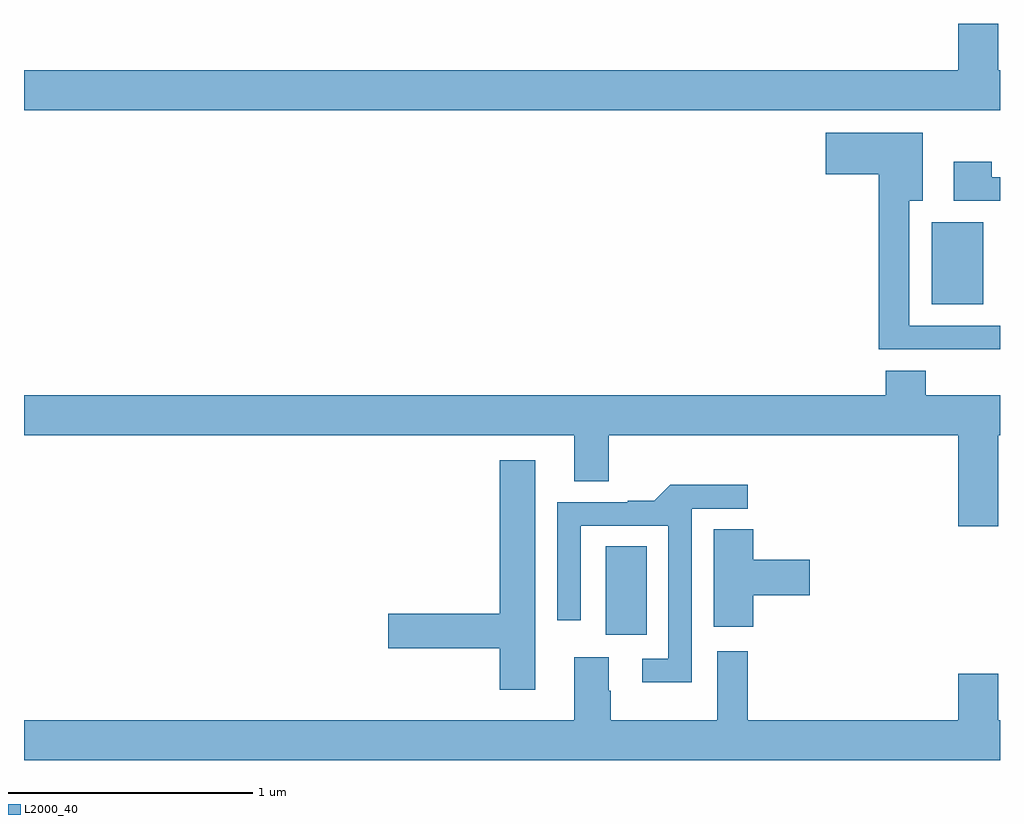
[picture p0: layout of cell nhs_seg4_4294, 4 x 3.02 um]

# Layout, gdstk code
import gdstk
lib = gdstk.Library(unit=1e-6, precision=1e-09)
def R(c, l, rs):  # rectangles x0, y0, x1, y1
    for r in rs: c.add(gdstk.rectangle(r[:2], r[2:], *l))
def P(c, l, *ps):  # polygons
    for p in ps: c.add(gdstk.Polygon(p, *l))
L2000_40 = (2000, 40)

nhs_seg4_4294 = lib.new_cell('nhs_seg4_4294')
R(nhs_seg4_4294, L2000_40, [(343.385,772.026,343.552,772.388), (344.72,773.381,344.932,773.716)])
P(nhs_seg4_4294, L2000_40, [(345,774.34),(344.992,774.34),(344.992,774.529),(344.828,774.529),(344.828,774.34),(341,774.34),(341,774.176),(345,774.176)],
  [(345,773.292),(344.629,773.292),(344.629,773.804),(344.683,773.804),(344.683,774.082),(344.286,774.082),(344.286,773.912),(344.504,773.912),(344.504,773.195),(345,773.195)],
  [(345,773.901),(344.967,773.901),(344.967,773.965),(344.811,773.965),(344.811,773.805),(345,773.805)],
  [(344.531,773.107),(344.531,773.008),(341,773.008),(341,772.844),(343.256,772.844),(343.256,772.654),(343.396,772.654),(343.396,772.844),(344.828,772.844),(344.828,772.47),(344.992,772.47),(344.992,772.844),(345,772.844),(345,773.008),(344.696,773.008),(344.696,773.107)],
  [(343.096,772.741),(342.95,772.741),(342.95,772.112),(342.492,772.112),(342.492,771.97),(342.95,771.97),(342.95,771.801),(343.096,771.801)],
  [(343.737,772.542),(343.966,772.542),(343.966,772.64),(343.649,772.64),(343.583,772.574),(343.475,772.574),(343.475,772.569),(343.185,772.569),(343.185,772.086),(343.281,772.086),(343.281,772.473),(343.641,772.473),(343.641,771.927),(343.533,771.927),(343.533,771.83),(343.737,771.83)],
  [(343.988,772.187),(344.221,772.187),(344.221,772.334),(343.988,772.334),(343.988,772.457),(343.826,772.457),(343.826,772.059),(343.988,772.059)],
  [(345,771.676),(344.992,771.676),(344.992,771.865),(344.828,771.865),(344.828,771.676),(343.967,771.676),(343.967,771.958),(343.841,771.958),(343.841,771.676),(343.404,771.676),(343.404,771.797),(343.396,771.797),(343.396,771.934),(343.256,771.934),(343.256,771.676),(341,771.676),(341,771.512),(345,771.512)])

lib.write_gds('nhs_seg4_4294.gds')
